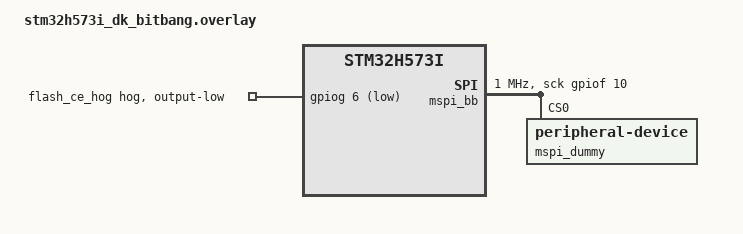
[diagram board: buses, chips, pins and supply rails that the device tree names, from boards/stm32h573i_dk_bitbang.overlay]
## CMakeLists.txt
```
#
# Copyright (c) 2026 Nordic Semiconductor ASA
#
# SPDX-License-Identifier: Apache-2.0
#

cmake_minimum_required(VERSION 3.28.0)

find_package(Zephyr REQUIRED HINTS $ENV{ZEPHYR_BASE})
project(mspi_loopback_throughput)

target_sources(app PRIVATE src/main.c)
```

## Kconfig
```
# Copyright (c) 2026 Nordic Semiconductor ASA
#
# SPDX-License-Identifier: Apache-2.0
#

mainmenu "MSPI Throughput Sample application"

config SAMPLE_MSPI_THROUGHPUT_TOTAL_TRANSFER_SIZE
	int "Total transfer size in bytes"
	default 32768
	range 1024 1048576
	help
	  Total amount of data to transfer during each test case.
	  This value determines how much data is transferred for each
	  buffer size and packet count combination.
	  Default is 32 KB.

source "Kconfig.zephyr"
```

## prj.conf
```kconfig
#
# Copyright (c) 2026 Nordic Semiconductor ASA
#
# SPDX-License-Identifier: Apache-2.0
#

# Enable MSPI driver and DMA support
CONFIG_MSPI=y

# Memory and stack configuration for very limited RAM
CONFIG_HEAP_MEM_POOL_SIZE=1024
CONFIG_MAIN_STACK_SIZE=4096

# Enable floating point for throughput calculations
CONFIG_FPU=y

# Enable CPU load measurement
CONFIG_CPU_LOAD=y
```

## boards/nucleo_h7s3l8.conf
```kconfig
# Copyright (c) 2026 EXALT Technologies
# SPDX-License-Identifier: Apache-2.0

CONFIG_FLASH=y
CONFIG_LOG=y
CONFIG_MSPI_LOG_LEVEL_INF=y
CONFIG_HEAP_MEM_POOL_SIZE=8192
CONFIG_MSPI_COMPLETION_TIMEOUT_TOLERANCE=10000
```

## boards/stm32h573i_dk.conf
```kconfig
# Copyright (c) 2026 EXALT Technologies
# SPDX-License-Identifier: Apache-2.0

CONFIG_LOG=y
CONFIG_MSPI_LOG_LEVEL_INF=y
CONFIG_HEAP_MEM_POOL_SIZE=8192
CONFIG_FLASH=y
CONFIG_MSPI_COMPLETION_TIMEOUT_TOLERANCE=10000
```

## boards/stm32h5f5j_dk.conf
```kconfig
# Copyright (c) 2026 EXALT Technologies
# SPDX-License-Identifier: Apache-2.0

CONFIG_LOG=y
CONFIG_FLASH=y
CONFIG_MSPI_LOG_LEVEL_INF=y
CONFIG_HEAP_MEM_POOL_SIZE=8192
CONFIG_MSPI_COMPLETION_TIMEOUT_TOLERANCE=10000
```

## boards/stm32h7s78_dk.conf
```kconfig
# Copyright (c) 2026 EXALT Technologies
# SPDX-License-Identifier: Apache-2.0

CONFIG_LOG=y
CONFIG_MSPI_LOG_LEVEL_INF=y
CONFIG_HEAP_MEM_POOL_SIZE=8192
CONFIG_MSPI_COMPLETION_TIMEOUT_TOLERANCE=10000
```

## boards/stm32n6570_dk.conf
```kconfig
# Copyright (c) 2026 EXALT Technologies
# SPDX-License-Identifier: Apache-2.0

CONFIG_MSPI_COMPLETION_TIMEOUT_TOLERANCE=10000
```

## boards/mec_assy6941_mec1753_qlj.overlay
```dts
/*
 * Copyright (c) 2026 Microchip Technology Inc.
 *
 * SPDX-License-Identifier: Apache-2.0
 */

/ {
	aliases {
		dev0 = &mspi_dummy;
	};
};

&dmac {
	status = "okay";
};

&qspi0 {
	compatible = "microchip,xec-qmspi-controller";
	op-mode = "MSPI_OP_MODE_CONTROLLER";
	duplex = "MSPI_HALF_DUPLEX";
	num-hw-ce = <1>;
	clock-frequency = <DT_FREQ_M(96)>;

	pinctrl-0 = <&qspi_shd_cs0_n_gpio055 &qspi_shd_cs1_n_gpio002
		     &qspi_shd_clk_gpio056
		     &qspi_shd_io0_gpio223 &qspi_shd_io1_gpio224
		     &qspi_shd_io2_gpio227 &qspi_shd_io3_gpio016>;
	pinctrl-1 = <&qspi_shd_io3_gpio016_lp &qspi_shd_io2_gpio227_lp
		     &qspi_shd_io1_gpio224_lp &qspi_shd_io0_gpio223_lp
		     &qspi_shd_clk_gpio056_lp &qspi_shd_cs0_n_gpio055_lp>;
	pinctrl-names = "default", "sleep";
	status = "okay";

	/* Real flash device so the controller has a defined target (dev_idx 0) */
	mspi_dummy: mspi_dummy@0 {
		compatible = "microchip,xec-qmspi-device";
		reg = <0>;
		mspi-max-frequency = <DT_FREQ_M(48)>;
		mspi-io-mode = "MSPI_IO_MODE_QUAD";
		mspi-data-rate = "MSPI_DATA_RATE_SINGLE";
		mspi-cpp-mode = "MSPI_CPP_MODE_0";
		mspi-endian = "MSPI_BIG_ENDIAN";
		mspi-ce-polarity = "MSPI_CE_ACTIVE_LOW";
		mspi-hardware-ce-num = <0>;
		command-length = "INSTR_1_BYTE";
		address-length = "ADDR_3_BYTE";
		read-command = <0x6b>;
		write-command = <0x32>;
		rx-dummy = <8>;
		tx-dummy = <0>;
		microchip,timing-config-mask = <0>;
		microchip,timing-config = <0 0 0 0 0 0 0 0>;
	};
};
```

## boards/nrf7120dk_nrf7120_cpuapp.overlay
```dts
/*
 * Copyright (c) 2026 Nordic Semiconductor ASA
 *
 * SPDX-License-Identifier: Apache-2.0
 */

/ {
	aliases {
		dev0 = &mspi_dummy;
	};
};

&uart00 {
	status = "disabled";
};

&spi00 {
	status = "disabled";
};

&mspi00 {
	op-mode = "MSPI_OP_MODE_CONTROLLER";
	status = "okay";

	/* Dummy device so the controller has a defined target (dev_idx 0) for throughput tests. */
	mspi_dummy: mspi_dummy@0 {
		compatible = "zephyr,peripheral-device";
		reg = <0>;
		mspi-max-frequency = <DT_FREQ_M(64)>;
		mspi-io-mode = "MSPI_IO_MODE_QUAD";
		mspi-data-rate = "MSPI_DATA_RATE_SINGLE";
		mspi-cpp-mode = "MSPI_CPP_MODE_0";
		mspi-endian = "MSPI_BIG_ENDIAN";
		mspi-ce-polarity = "MSPI_CE_ACTIVE_LOW";
		mspi-hardware-ce-num = <1>;
		command-length = "INSTR_1_BYTE";
		address-length = "ADDR_1_BYTE";
	};
};
```

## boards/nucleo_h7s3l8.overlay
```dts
/*
 * Copyright (c) 2026 EXALT Technologies
 *
 * SPDX-License-Identifier: Apache-2.0
 */

/delete-node/ &xspi2;

/ {
	aliases {
		dev0 = &ext_flash_ctrl;
	};

	soc {
		xspi2: spi@5200a000 {
			compatible = "st,stm32-xspi-controller";
			reg = <0x5200a000 0x1000>, <0x70000000 DT_SIZE_M(256)>;
			interrupts = <106 0>;
			clock-names = "xspix";
			clocks = <&rcc STM32_CLOCK(AHB5, 12)>;
			clock-frequency = <DT_FREQ_M(25)>;
			op-mode = "MSPI_OP_MODE_CONTROLLER";
			st,csbound = <0>;
			#address-cells = <1>;
			#size-cells = <0>;
			pinctrl-0 = <&xspim_p2_clk_pn6 &xspim_p2_ncs1_pn1
				     &xspim_p2_io0_pn2 &xspim_p2_io1_pn3
				     &xspim_p2_io2_pn4 &xspim_p2_io3_pn5
				     &xspim_p2_io4_pn8 &xspim_p2_io5_pn9
				     &xspim_p2_io6_pn10 &xspim_p2_io7_pn11
				     &xspim_p2_dqs0_pn0>;
			pinctrl-names = "default";
			status = "okay";

			ext_flash_ctrl: xspi-nor-flash@0 {
				compatible = "st,nor", "mxicy,mx25u", "jedec,nor";
				reg = <0>;
				size = <DT_SIZE_M(256)>; /* 256Mbits */
				status = "okay";
				read-command = <0xee11>;
				write-command = <0x12ed>;
				rx-dummy = <20>;
				st,mem-type = "macronix";
				mspi-max-frequency = <DT_FREQ_M(25)>;
				mspi-io-mode = "MSPI_IO_MODE_OCTAL";
				mspi-data-rate = "MSPI_DATA_RATE_DUAL";
				mspi-hardware-ce-num = <0>;
				command-length = "INSTR_2_BYTE";
				#address-cells = <1>;
				#size-cells = <1>;

				ext_flash: mx25uw25645: xspi-nor-flash@0 {
					compatible = "soc-nv-flash";
					reg = <0x0 DT_SIZE_M(32)>;
					write-block-size = <1>;
					erase-block-size = <DT_SIZE_K(4)>;

					partitions {
						compatible = "fixed-partitions";
						#address-cells = <1>;
						#size-cells = <1>;
					};
				};
			};
		};
	};
};

&iocell {
	status = "okay";

	vddxspi2 {
		/delete-property/ hslv-mode;
		/delete-property/ compensation-enabled;
	};
};
```

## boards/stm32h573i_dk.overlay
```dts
/*
 * Copyright (c) 2026 EXALT Technologies
 *
 * SPDX-License-Identifier: Apache-2.0
 */

/* Replace the xspi1 by a "st,stm32-xspi-controller" compatible */
/delete-node/ &xspi1;

/ {
	aliases {
		dev0 = &mx25lm51245;
	};

	soc {
		xspi1: mspi@47001400 {
			compatible = "st,stm32-xspi-controller";
			reg = <0x47001400 0x400>, <0x90000000 DT_SIZE_M(256)>;
			interrupts = <78 0>;
			clock-names = "xspix", "xspi-ker";
			clocks = <&rcc STM32_CLOCK(AHB4, 20U)>,
				 <&rcc STM32_SRC_PLL1_Q OCTOSPI1_SEL(1)>;
			clock-frequency = <DT_FREQ_M(50)>;
			#address-cells = <1>;
			#size-cells = <0>;
			op-mode = "MSPI_OP_MODE_CONTROLLER";
			status = "okay";
			pinctrl-0 = <&octospi1_io0_pb1 &octospi1_io1_pd12
				     &octospi1_io2_pc2 &octospi1_io3_pd13
				     &octospi1_io4_ph2 &octospi1_io5_ph3
				     &octospi1_io6_pg9 &octospi1_io7_pc0
				     &octospi1_clk_pf10 &octospi1_ncs_pg6
				     &octospi1_dqs_pb2>;
			pinctrl-names = "default";

			mx25lm51245: ospi-nor-flash@0 {
				compatible = "st,nor", "mxicy,mx25u", "jedec,nor";
				reg = <0>;
				size = <DT_SIZE_M(512)>;
				status = "okay";
				read-command = <0xee11>;
				write-command = <0x12ed>;
				rx-dummy = <20>;
				mspi-max-frequency = <DT_FREQ_M(50)>;
				mspi-io-mode = "MSPI_IO_MODE_OCTAL";
				mspi-data-rate = "MSPI_DATA_RATE_DUAL";
				mspi-hardware-ce-num = <0>;
				st,mem-type = "macronix";
				command-length = "INSTR_2_BYTE";
				jedec-id = [c2 85 3a];

				partitions {
					compatible = "fixed-partitions";
					#address-cells = <1>;
					#size-cells = <1>;

					slot_partition0: partition@0 {
						label = "nor";
						reg = <0x00000000 DT_SIZE_M(8)>;
					};
				};
			};
		};
	};
};
```

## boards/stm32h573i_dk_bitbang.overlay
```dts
/*
 * Copyright The Zephyr Project Contributors
 *
 * SPDX-License-Identifier: Apache-2.0
 */

/*
 * Bitbang MSPI controller on the OCTOSPI1 pins of the STM32H573I-DK, which
 * the hardware controller and its flash device must release. The dummy
 * peripheral is selected through the otherwise unused PG5 (Arduino D7) and
 * the chip enable of the on-board flash is held deasserted so the flash
 * never sees the traffic.
 */

/delete-node/ &ext_flash_ctrl;

&xspi1 {
	status = "disabled";
};

&gpiog {
	flash_ce_hog: flash-ce-hog {
		gpio-hog;
		gpios = <6 GPIO_ACTIVE_LOW>;
		output-low;
	};
};

/ {
	aliases {
		dev0 = &mspi_dummy;
	};

	mspi_bb: mspi-bitbang-controller {
		compatible = "zephyr,mspi-bitbang-controller";
		#address-cells = <1>;
		#size-cells = <0>;
		sck-gpios = <&gpiof 10 GPIO_ACTIVE_HIGH>;
		io-gpios = <&gpiob 1 GPIO_ACTIVE_HIGH>, <&gpiod 12 GPIO_ACTIVE_HIGH>,
			   <&gpioc 2 GPIO_ACTIVE_HIGH>, <&gpiod 13 GPIO_ACTIVE_HIGH>,
			   <&gpioh 2 GPIO_ACTIVE_HIGH>, <&gpioh 3 GPIO_ACTIVE_HIGH>,
			   <&gpiog 9 GPIO_ACTIVE_HIGH>, <&gpioc 0 GPIO_ACTIVE_HIGH>;
		ce-gpios = <&gpiog 5 GPIO_ACTIVE_LOW>;
		clock-frequency = <DT_FREQ_M(1)>;
		status = "okay";

		mspi_dummy: mspi_dummy@0 {
			compatible = "zephyr,peripheral-device";
			reg = <0>;
			mspi-max-frequency = <DT_FREQ_M(1)>;
			mspi-io-mode = "MSPI_IO_MODE_OCTAL";
			mspi-data-rate = "MSPI_DATA_RATE_SINGLE";
			mspi-cpp-mode = "MSPI_CPP_MODE_0";
			mspi-endian = "MSPI_BIG_ENDIAN";
			mspi-ce-polarity = "MSPI_CE_ACTIVE_LOW";
			command-length = "INSTR_1_BYTE";
			address-length = "ADDR_1_BYTE";
		};
	};
};
```

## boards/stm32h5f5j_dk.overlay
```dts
/*
 * Copyright (c) 2026 EXALT Technologies
 *
 * SPDX-License-Identifier: Apache-2.0
 */

/* Replace the xspi1 by a "st,stm32-mspi-controller" compatible */
/delete-node/ &xspi1;

/ {
	aliases {
		dev0 = &ext_flash_ctrl;
	};

	soc {
		xspi1: spi@47001400 {
			compatible = "st,stm32-xspi-controller";
			reg = <0x47001400 0x400>, <0x90000000 DT_SIZE_M(256)>;
			interrupts = <78 0>;
			clock-names = "xspix", "xspi-ker";
			clocks = <&rcc STM32_CLOCK(AHB4, 20)>,
				 <&rcc STM32_SRC_PLL1_Q OCTOSPI1_SEL(1)>;
			#address-cells = <1>;
			#size-cells = <0>;
			clock-frequency = <DT_FREQ_M(50)>;
			op-mode = "MSPI_OP_MODE_CONTROLLER";
			pinctrl-0 = <&octospim_p1_io0_pc9 &octospim_p1_io1_pf9
				     &octospim_p1_io2_pe2 &octospim_p1_io3_pa6
				     &octospim_p1_io4_ph2 &octospim_p1_io5_ph3
				     &octospim_p1_io6_pe9 &octospim_p1_io7_pe10
				     &octospim_p1_clk_pf10 &octospim_p1_ncs1_pg6
				     &octospim_p1_dqs_pc5>;
			pinctrl-names = "default";
			status = "okay";

			ext_flash_ctrl: xspi-flash-controller@0 {
				compatible = "st,nor", "mxicy,mx25u", "jedec,nor";
				reg = <0>;
				size = <DT_SIZE_M(512)>; /* 512 Mbits */
				read-command = <0xee11>;
				write-command = <0x12ed>;
				rx-dummy = <20>;
				memmap-config = <1 0x00000000 0 1>;
				mspi-max-frequency = <DT_FREQ_M(50)>;
				mspi-io-mode = "MSPI_IO_MODE_OCTAL";
				mspi-data-rate = "MSPI_DATA_RATE_DUAL";
				mspi-hardware-ce-num = <0>;
				command-length = "INSTR_2_BYTE";
				st,mem-type = "macronix";
				#address-cells = <1>;
				#size-cells = <1>;
				status = "okay";

				ext_flash: mx25lm51245: ext-flash@0 {
					compatible = "soc-nv-flash";
					reg = <0x0 DT_SIZE_M(64)>;
					write-block-size = <1>;
					erase-block-size = <DT_SIZE_K(4)>;
				};
			};
		};
	};
};
```

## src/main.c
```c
/*
 * Copyright (c) 2026 Nordic Semiconductor ASA
 *
 * SPDX-License-Identifier: Apache-2.0
 */

#include <zephyr/device.h>
#include <zephyr/devicetree.h>
#include <zephyr/drivers/mspi.h>
#include <zephyr/kernel.h>
#if defined(CONFIG_CPU_LOAD)
#include <zephyr/sys/cpu_load.h>
#endif

/* Test Configuration */
#define MSPI_CONTROLLER_NODE	DT_BUS(DT_ALIAS(dev0))
#define MSPI_TARGET_DEVICE_NODE DT_ALIAS(dev0)

#define MSPI_CLOCK_FREQ		DT_PROP(MSPI_TARGET_DEVICE_NODE, mspi_max_frequency)
#define TOTAL_TRANSFER_SIZE CONFIG_SAMPLE_MSPI_THROUGHPUT_TOTAL_TRANSFER_SIZE

static inline uint8_t io_mode_data_lines(enum mspi_io_mode mode)
{
	switch (mode) {
	case MSPI_IO_MODE_DUAL:
	case MSPI_IO_MODE_DUAL_1_1_2:
	case MSPI_IO_MODE_DUAL_1_2_2:
		return 2;
	case MSPI_IO_MODE_QUAD:
	case MSPI_IO_MODE_QUAD_1_1_4:
	case MSPI_IO_MODE_QUAD_1_4_4:
		return 4;
	case MSPI_IO_MODE_OCTAL:
	case MSPI_IO_MODE_OCTAL_1_1_8:
	case MSPI_IO_MODE_OCTAL_1_8_8:
		return 8;
	case MSPI_IO_MODE_HEX:
	case MSPI_IO_MODE_HEX_8_8_16:
	case MSPI_IO_MODE_HEX_8_16_16:
		return 16;
	default:
		return 1;
	}
}

/* ideal bits/s = clk * data_lines, ideal bytes/s = clk * data_lines / 8 */
#define IDEAL_BYTES_PER_SEC \
	((uint64_t)MSPI_CLOCK_FREQ * io_mode_data_lines(dev_cfg.io_mode) / 8ULL)

#define IDEAL_THROUGHPUT_MBYTE	((double)IDEAL_BYTES_PER_SEC / (double)MB(1))

#define MAX_BUFFER_SIZE 2304
#define MAX_PACKETS 16

/* Buffer sizes to test (in bytes) */
static const uint32_t buffer_sizes[] = {
	4, 16, 64, 256, 1024, 1500, MAX_BUFFER_SIZE
};

/* Packet counts to test */
static const uint32_t packet_counts[] = {
	1, 4, MAX_PACKETS
};

/* Device references */
static const struct device *mspi_controller = DEVICE_DT_GET(MSPI_CONTROLLER_NODE);

/* Device ID from the target peripheral device node */
static const struct mspi_dev_id controller_id = MSPI_DEVICE_ID_DT(MSPI_TARGET_DEVICE_NODE);

/* Device configuration from devicetree */
static const struct mspi_dev_cfg dev_cfg = MSPI_DEVICE_CONFIG_DT(MSPI_TARGET_DEVICE_NODE);

static uint8_t tx_buffer[MAX_BUFFER_SIZE] __aligned(4);
static struct mspi_xfer_packet tx_packets[MAX_PACKETS];

/* Performance measurement variables */
static uint32_t transfer_start_cycles;
static uint32_t transfer_end_cycles;

struct test_result {
	uint16_t buffer_size;
	uint8_t packet_count;
	uint32_t transfer_cycles;	/* Store time in CPU cycles for high precision */
	double throughput_mbps;	/* Throughput in MB/s*/
#if defined(CONFIG_CPU_LOAD)
	double cpu_load_per;	  /* CPU load (%) */
#endif
	uint16_t efficiency;	/* (Actual xfer / ideal) * 100 (%) */
};

static struct test_result test_results[ARRAY_SIZE(buffer_sizes) * ARRAY_SIZE(packet_counts)];
static uint32_t test_result_index;
#if defined(CONFIG_CPU_LOAD)
static int cpu_load_per_mille;
#endif

/* Forward declarations */
static void setup_test_buffers(void);
static int run_single_test(uint32_t buffer_size, uint32_t packet_count);
static void calculate_and_store_results(uint32_t buffer_size,
					uint32_t packet_count,
					uint32_t num_transfers,
					uint32_t total_buffers,
					uint32_t transfer_cycles);
static void print_test_results(void);
static void print_summary_report(void);

/* Setup test buffers with pattern */
static void setup_test_buffers(void)
{
	for (uint32_t i = 0; i < sizeof(tx_buffer); i++) {
		tx_buffer[i] = (uint8_t)(i);
	}
}

/* Run a single test case */
static int run_single_test(uint32_t buffer_size,
			   uint32_t packet_count)
{
	int rc;
	uint32_t total_buffers = TOTAL_TRANSFER_SIZE / buffer_size;
	uint32_t remaining_bytes = TOTAL_TRANSFER_SIZE % buffer_size;

	if (remaining_bytes > 0) {
		total_buffers++; /* Need one more buffer for remaining bytes */
	}

	/* Calculate how many transfers we need to make */
	uint32_t num_transfers = (total_buffers + packet_count - 1) / packet_count;

	if (packet_count > MAX_PACKETS) {
		printk("Packet count too high: %u (max %u)\n", packet_count, MAX_PACKETS);
		return -EINVAL;
	}

	/* Setup packets */
	for (uint32_t i = 0; i < MAX_PACKETS; i++) {
		tx_packets[i].dir = MSPI_TX;
		tx_packets[i].cmd = 0x42;
		tx_packets[i].address = 0x12;
		tx_packets[i].data_buf = tx_buffer;
		/* tx_packets[i].num_bytes will be set inside the timing loop */
	}

	/* Setup tx and rx transfer descriptions */
	struct mspi_xfer tx_xfer = {
		.xfer_mode = IS_ENABLED(CONFIG_MSPI_DMA) ? MSPI_DMA : MSPI_PIO,
		/* tx_xfer.packets will be set inside the timing loop */
		/* tx_xfer.num_packet will be set inside the timing loop */
		.timeout = 10000,
		.cmd_length = dev_cfg.cmd_length,
		.addr_length = dev_cfg.addr_length,
		.async = false,
		.tx_dummy = 0,
	};

	printk("Total buffers = %u, Remaining bytes = %u, number of transfers = %u\n",
		total_buffers, remaining_bytes, num_transfers);

	/* Start performance measurement AFTER all packet setup is complete */
	transfer_start_cycles = k_cycle_get_32();
#if defined(CONFIG_CPU_LOAD)
	(void)cpu_load_get(true); /* Reset CPU load measurement */
#endif

	for (uint32_t transfer_idx = 0; transfer_idx < num_transfers; transfer_idx++) {
		uint32_t start_buffer = transfer_idx * packet_count;
		uint32_t end_buffer = MIN(start_buffer + packet_count, total_buffers);
		uint32_t current_buffers = end_buffer - start_buffer;

		/* Only update the num_bytes field - everything else is pre-configured */
		for (uint32_t i = 0; i < current_buffers; i++) {
			uint32_t buffer_idx = start_buffer + i;
			uint32_t current_buffer_size = (buffer_idx == total_buffers - 1 &&
							remaining_bytes > 0) ?
							remaining_bytes : buffer_size;

			tx_packets[i].num_bytes = current_buffer_size;
		}
		tx_xfer.packets = tx_packets;
		tx_xfer.num_packet = current_buffers;

		rc = mspi_transceive(mspi_controller, &controller_id, &tx_xfer);
		if (rc != 0) {
			printk("Failed to start transfer chunk %u: %d\n", transfer_idx, rc);
			return rc;
		}
	}
#if defined(CONFIG_CPU_LOAD)
	cpu_load_per_mille = cpu_load_get(true); /* Get load in per mille, reset for next test */
#endif
	transfer_end_cycles = k_cycle_get_32();

	calculate_and_store_results(buffer_size, packet_count, num_transfers, total_buffers,
				    (uint32_t)(transfer_end_cycles - transfer_start_cycles));

	printk("Test completed: buf=%u, desc=%u, cycles=%u\n",
		buffer_size, packet_count,
		(unsigned int)(transfer_end_cycles - transfer_start_cycles));

	return 0;
}

static void calculate_and_store_results(uint32_t buffer_size,
					uint32_t packet_count,
					uint32_t num_transfers,
					uint32_t total_buffers,
					uint32_t transfer_cycles)
{
	if (test_result_index >= ARRAY_SIZE(test_results)) {
		printk("Test results array full\n");
		return;
	}

	struct test_result *result = &test_results[test_result_index];

	result->buffer_size = (uint16_t)buffer_size;
	result->packet_count = (uint8_t)packet_count;
	result->transfer_cycles = transfer_cycles;

	/* Calculate throughput in MB/s */
	uint64_t timer_freq = (uint64_t)sys_clock_hw_cycles_per_sec();
	double transfer_time_sec = (double)(transfer_cycles) / (double)timer_freq;

	result->throughput_mbps  = (double)(TOTAL_TRANSFER_SIZE +
		(num_transfers * (dev_cfg.addr_length + dev_cfg.cmd_length))) /
		MB(1) / transfer_time_sec;

	double efficiency = (double)(result->throughput_mbps)/IDEAL_THROUGHPUT_MBYTE;
	double estimated_latency_us = 1000000.0 * (transfer_time_sec * (1.0-efficiency)
				/ (double)total_buffers);

	printk("Total transfer time = %lf s\n", transfer_time_sec);
	printk("Throughput = %lf mb/s\n", result->throughput_mbps);
	printk("Efficiency = %lf %%\n", efficiency * 100);
	printk("Estimated latency us = %lf us\n", estimated_latency_us);

#if defined(CONFIG_CPU_LOAD)
	/* CPU load (value in per mille) */
	result->cpu_load_per = (double)cpu_load_per_mille / 10.0;
	printk("CPU Load: %.2f%%\n", result->cpu_load_per);
#endif
	test_result_index++;
}

static void print_test_results(void)
{
	printk("\n\n=== TEST RESULTS ===\n");

#if defined(CONFIG_CPU_LOAD)
	printk("%-8s %-8s %-12s %-12s %-12s %-12s\n",
	       "BufSize", "PktCnt", "Time", "Throughput", "Efficiency", "CPU Load");
	printk("%-8s %-8s %-12s %-12s %-12s %-12s\n",
	       "(bytes)", "", "(us)", "(MB/s)", "(%)", "(%)");
#else
	printk("%-8s %-8s %-12s %-12s %-12s\n",
	       "BufSize", "PktCnt", "Time", "Throughput", "Efficiency");
	printk("%-8s %-8s %-12s %-12s %-12s\n",
	       "(bytes)", "", "(us)", "(MB/s)", "(%)");
#endif
	printk("-----------------------------------------------------------------\n");

	for (uint32_t i = 0; i < test_result_index; i++) {
		struct test_result *result = &test_results[i];

#if defined(CONFIG_CPU_LOAD)
		printk("%-8u %-8u %-12u %-12.3f %-12.2f %-12.2f\n",
		result->buffer_size, result->packet_count,
		result->transfer_cycles, (double)result->throughput_mbps,
		(double)100.0*(double)result->throughput_mbps/IDEAL_THROUGHPUT_MBYTE,
		(double)result->cpu_load_per);
#else
		printk("%-8u %-8u %-12u %-12.3f %-12.2f\n",
		result->buffer_size, result->packet_count,
		result->transfer_cycles, (double)result->throughput_mbps,
		(double)100.0*(double)result->throughput_mbps/IDEAL_THROUGHPUT_MBYTE);
#endif
	}
}

/* Print summary report with scaling analysis */
static void print_summary_report(void)
{
	printk("\n\n=== SUMMARY REPORT ===\n");

	/* Find best performance configurations */
	double best_tx_throughput = 0.0;
	uint32_t best_tx_buf_size = 0;
	uint32_t best_tx_desc_count = 0;

	for (uint32_t i = 0; i < test_result_index; i++) {
		struct test_result *result = &test_results[i];

		if ((double)result->throughput_mbps > best_tx_throughput) {
			best_tx_throughput = (double)result->throughput_mbps;
			best_tx_buf_size = result->buffer_size;
			best_tx_desc_count = result->packet_count;
		}
	}

	printk("Best TX Performance: %.2f MB/s (buffer size=%u, packet count=%u)\n",
			best_tx_throughput, best_tx_buf_size, best_tx_desc_count);
}

int main(void)
{
	int rc;

	printk("=== MSPI Throughput Test ===\n");
#ifdef CONFIG_MSPI_DMA
	printk("%d Byte transfer with using DMA\n", TOTAL_TRANSFER_SIZE);
#else
	printk("%d Byte transfer with CPU-driven polling\n", TOTAL_TRANSFER_SIZE);
#endif
	printk("MSPI Clock: %u MHz\n", MSPI_CLOCK_FREQ / 1000000);

	/* Check device readiness */
	if (!device_is_ready(mspi_controller)) {
		printk("MSPI controller device not ready\n");
		return -ENODEV;
	}

	/* Setup test environment */
	setup_test_buffers();

	rc = mspi_dev_config(mspi_controller, &controller_id, MSPI_DEVICE_CONFIG_ALL, &dev_cfg);
	if (rc != 0) {
		printk("Failed to configure MSPI device: %d\n", rc);
		return rc;
	}

	printk("Starting throughput tests...\n");
	printk("Ideal throughput with a frequency of %d is %.3f MB/s\n", MSPI_CLOCK_FREQ,
	       (double) IDEAL_THROUGHPUT_MBYTE);

	printk("Total test cases: %zu\n", ARRAY_SIZE(test_results));

	/* Delay needed for cycle measurement as other background processes must finish */
	k_msleep(500);

	/* Run all test permutations */
	for (uint32_t buf_idx = 0; buf_idx < ARRAY_SIZE(buffer_sizes); buf_idx++) {
		for (uint32_t desc_idx = 0; desc_idx < ARRAY_SIZE(packet_counts); desc_idx++) {

			uint32_t buffer_size = buffer_sizes[buf_idx];
			uint32_t packet_count = packet_counts[desc_idx];

			printk("\nRunning test %u/%zu: buf=%u, desc=%u\n",
					test_result_index + 1,
					ARRAY_SIZE(test_results),
					buffer_size, packet_count);

			rc = run_single_test(buffer_size, packet_count);
			if (rc != 0) {
				printk("Test failed: %d\n", rc);
				/* Continue with other tests */
			}

			/* Small delay between tests */
			k_msleep(300);
		}
	}

	/* Release controller channel */
	rc = mspi_get_channel_status(mspi_controller, 0);
	if (rc != 0) {
		printk("mspi_get_channel_status() controller failed: %d\n", rc);
	}

	/* Print results */
	print_test_results();
	print_summary_report();

	printk("=== MSPI Throughput Test Complete ===\n");

	return 0;
}
```
